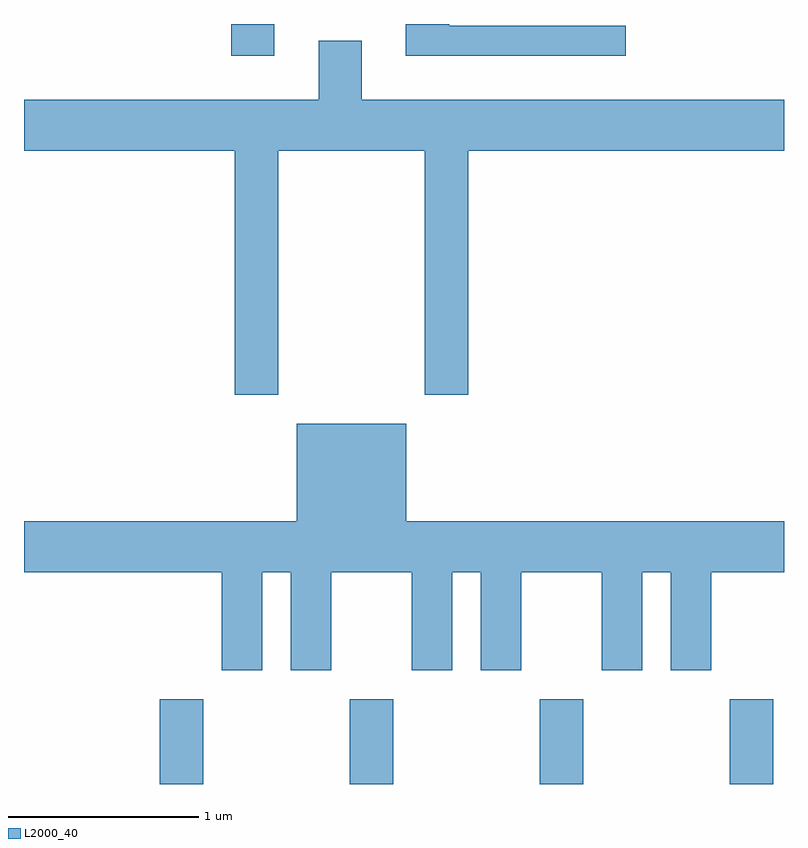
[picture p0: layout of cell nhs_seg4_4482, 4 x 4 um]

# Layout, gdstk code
import gdstk
lib = gdstk.Library(unit=1e-6, precision=1e-09)
def R(c, l, rs):  # rectangles x0, y0, x1, y1
    for r in rs: c.add(gdstk.rectangle(r[:2], r[2:], *l))
def A(c, l, x, y, w, h, nx, ny, dx, dy):  # array of equal rectangles
    R(c, l, [(x+i*dx, y+j*dy, x+i*dx+w, y+j*dy+h) for i in range(nx) for j in range(ny)])
def P(c, l, *ps):  # polygons
    for p in ps: c.add(gdstk.Polygon(p, *l))
L2000_40 = (2000, 40)

nhs_seg4_4482 = lib.new_cell('nhs_seg4_4482')
A(nhs_seg4_4482, L2000_40, 316.326, 1377.982, 0.228, 0.447, 4, 1, 1, 0)
R(nhs_seg4_4482, L2000_40, [(316.701,1381.816,316.929,1381.982)])
P(nhs_seg4_4482, L2000_40, [(318.778,1381.974),(317.849,1381.974),(317.849,1381.982),(317.621,1381.982),(317.621,1381.816),(318.778,1381.816)],
  [(316.949,1381.316),(317.721,1381.316),(317.721,1380.031),(317.949,1380.031),(317.949,1381.316),(319.611,1381.316),(319.611,1381.584),(317.389,1381.584),(317.389,1381.894),(317.161,1381.894),(317.161,1381.584),(315.611,1381.584),(315.611,1381.316),(316.721,1381.316),(316.721,1380.031),(316.949,1380.031)],
  [(316.864,1379.096),(317.016,1379.096),(317.016,1378.581),(317.229,1378.581),(317.229,1379.096),(317.651,1379.096),(317.651,1378.581),(317.864,1378.581),(317.864,1379.096),(318.016,1379.096),(318.016,1378.581),(318.229,1378.581),(318.229,1379.096),(318.651,1379.096),(318.651,1378.581),(318.864,1378.581),(318.864,1379.096),(319.016,1379.096),(319.016,1378.581),(319.229,1378.581),(319.229,1379.096),(319.611,1379.096),(319.611,1379.364),(317.624,1379.364),(317.624,1379.879),(317.046,1379.879),(317.046,1379.364),(315.611,1379.364),(315.611,1379.096),(316.651,1379.096),(316.651,1378.581),(316.864,1378.581)])

lib.write_gds('nhs_seg4_4482.gds')
